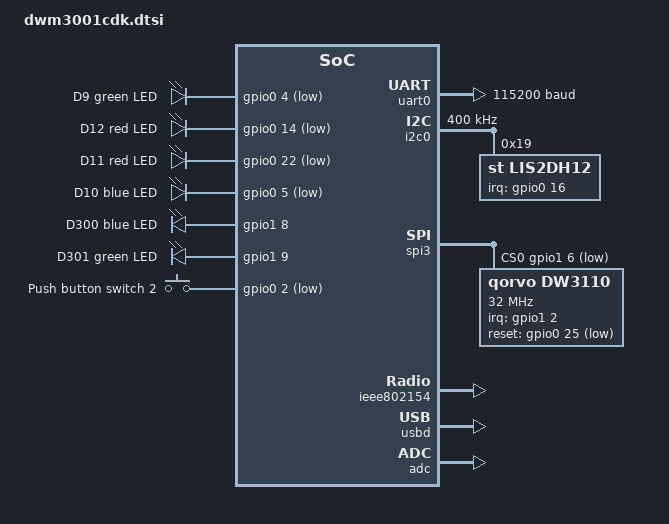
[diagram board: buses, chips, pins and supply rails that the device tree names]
/*
 * Shared hardware description for the two fake-COLETEC DWM bench boards.
 *
 * SPDX-License-Identifier: Apache-2.0
 */

#include <zephyr/dt-bindings/input/input-event-codes.h>

/ {
	chosen {
		zephyr,console = &uart0;
		zephyr,shell-uart = &uart0;
		zephyr,uart-mcumgr = &uart0;
		zephyr,bt-mon-uart = &uart0;
		zephyr,bt-c2h-uart = &uart0;
		zephyr,sram = &sram0;
		zephyr,flash = &flash0;
		zephyr,code-partition = &slot0_partition;
		zephyr,ieee802154 = &ieee802154;
	};

	leds {
		compatible = "gpio-leds";

		led0: led_0 {
			gpios = <&gpio0 4 GPIO_ACTIVE_LOW>;
			label = "D9 green LED";
		};

		led1: led_1 {
			gpios = <&gpio0 14 GPIO_ACTIVE_LOW>;
			label = "D12 red LED";
		};

		led2: led_2 {
			gpios = <&gpio0 22 GPIO_ACTIVE_LOW>;
			label = "D11 red LED";
		};

		led3: led_3 {
			gpios = <&gpio0 5 GPIO_ACTIVE_LOW>;
			label = "D10 blue LED";
		};

		external_blue_led: external_blue_led {
			gpios = <&gpio1 8 GPIO_ACTIVE_HIGH>;
			label = "D300 blue LED";
		};

		external_green_led: external_green_led {
			gpios = <&gpio1 9 GPIO_ACTIVE_HIGH>;
			label = "D301 green LED";
		};
	};

	buttons {
		compatible = "gpio-keys";

		button2: button_2 {
			gpios = <&gpio0 2 (GPIO_PULL_UP | GPIO_ACTIVE_LOW)>;
			label = "Push button switch 2";
			zephyr,code = <INPUT_KEY_1>;
		};
	};

	aliases {
		sw0 = &button2;
		led0 = &led0;
		led1 = &led1;
		led2 = &led2;
		led3 = &led3;
		watchdog0 = &wdt0;
		accel0 = &lis2dh12;
		coletec-role-led = &led3;
		role-led = &led3;
		external-blue-led = &external_blue_led;
		external-green-led = &external_green_led;
		led-blue = &external_blue_led;
		led-green = &external_green_led;
	};
};

&uicr {
	gpio-as-nreset;
};

&gpiote { status = "okay"; };
&gpio0 { status = "okay"; };
&gpio1 { status = "okay"; };

&uart0 {
	status = "okay";
	compatible = "nordic,nrf-uart";
	current-speed = <115200>;
	pinctrl-0 = <&uart0_default>;
	pinctrl-1 = <&uart0_sleep>;
	pinctrl-names = "default", "sleep";
};

&i2c0 {
	compatible = "nordic,nrf-twim";
	status = "okay";
	clock-frequency = <I2C_BITRATE_FAST>;
	pinctrl-0 = <&i2c0_default>;
	pinctrl-1 = <&i2c0_sleep>;
	pinctrl-names = "default", "sleep";

	lis2dh12: lis2dh12@19 {
		compatible = "st,lis2dh12", "st,lis2dh";
		reg = <0x19>;
		irq-gpios = <&gpio0 16 GPIO_ACTIVE_HIGH>;
	};
};

&spi3 {
	compatible = "nordic,nrf-spim";
	status = "okay";
	cs-gpios = <&gpio1 6 GPIO_ACTIVE_LOW>;
	pinctrl-0 = <&spi3_default>;
	pinctrl-1 = <&spi3_sleep>;
	pinctrl-names = "default", "sleep";

	dw3110: dw3110@0 {
		compatible = "qorvo,dw3110";
		reg = <0>;
		spi-max-frequency = <32000000>;
		irq-gpios = <&gpio1 2 GPIO_ACTIVE_HIGH>;
		reset-gpios = <&gpio0 25 GPIO_ACTIVE_LOW>;
		status = "okay";
	};
};

&ieee802154 { status = "okay"; };

&flash0 {
	partitions {
		compatible = "fixed-partitions";
		#address-cells = <1>;
		#size-cells = <1>;

		boot_partition: partition@0 {
			label = "mcuboot";
			reg = <0x00000000 0xC000>;
		};

		slot0_partition: partition@c000 {
			label = "image-0";
			reg = <0x0000C000 0x38000>;
		};

		slot1_partition: partition@44000 {
			label = "image-1";
			reg = <0x00044000 0x36000>;
		};

		storage_partition: partition@7a000 {
			label = "storage";
			reg = <0x0007A000 0x00006000>;
		};
	};
};

zephyr_udc0: &usbd {
	compatible = "nordic,nrf-usbd";
	status = "okay";
};

&reg1 {
	regulator-initial-mode = <NRF5X_REG_MODE_DCDC>;
};

&adc { status = "okay"; };
